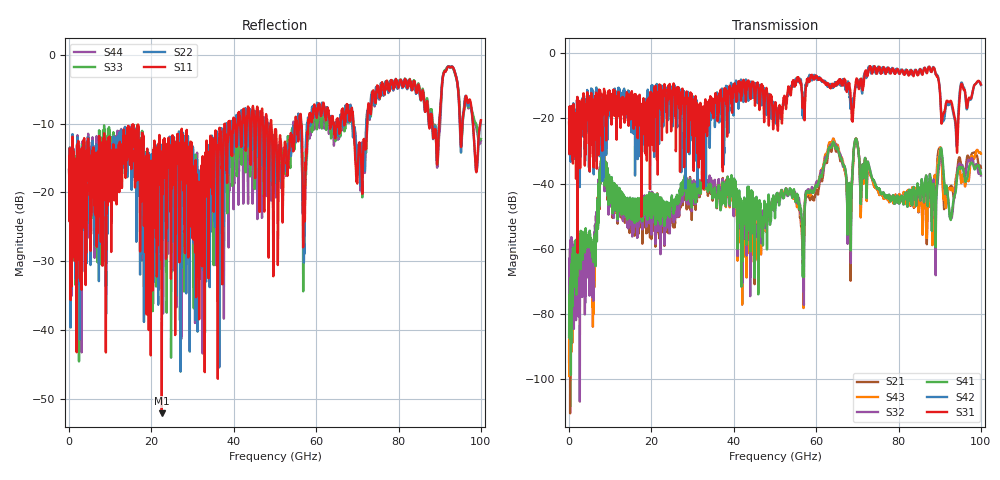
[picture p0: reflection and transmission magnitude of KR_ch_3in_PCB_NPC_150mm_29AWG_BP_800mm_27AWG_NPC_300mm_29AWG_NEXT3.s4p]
# GHz S RI R 45
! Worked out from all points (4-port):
!   4000 points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, 25 MHz to 100 GHz, reference 45 ohm
!   strongest paths, dB at 25 MHz, 25.02 GHz, 50.02 GHz, 75.03 GHz, 100 GHz:
!     S31: -21.3, -14.8, -15.8, -5.1, -9.6
!     S42: -21.3, -17.5, -18.0, -4.3, -9.8
!     S41: -87.0, -45.6, -50.5, -41.7, -37.0
!     S32: -86.5, -47.2, -47.4, -41.7, -37.5
!     S43: -88.6, -47.5, -46.3, -42.2, -30.8
!     S21: -94.7, -50.3, -47.2, -42.1, -35.1
!   lowest |S11| = -52.1 dB at 22.52 GHz (marker M1), VSWR 1.00, Z = 45 + j0.221 ohm
!   |S11| at or under -10 dB: start of sweep to 38.73 GHz; 49.12 GHz to 54.96 GHz (5.844 GHz wide, 11.2 % of centre); 69.04 GHz to 72.39 GHz (3.354 GHz wide, 4.74 % of centre) (the widest 3 of 26)
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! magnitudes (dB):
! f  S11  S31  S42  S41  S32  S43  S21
! 25 MHz  -16.7  -21.3  -21.3  -87.0  -86.5  -88.6  -94.7
! 5.875 GHz  -16.9  -19.7  -14.4  -61.9  -69.7  -80.1  -76.9
! 8.25 GHz  -12.8  -14.6  -18.7  -32.4  -32.6  -32.3  -32.9
! 22.52 GHz  -52.1  -23.4  -11.1  -48.2  -53.0  -48.8  -52.1
! 56.67 GHz  -16.7  -14.9  -18.9  -58.9  -58.9  -60.0  -58.1
! 63.85 GHz  -9.2  -9.6  -10.1  -28.4  -28.4  -27.4  -29.3
! 100 GHz  -9.5  -9.6  -9.8  -37.0  -37.5  -30.8  -35.1
